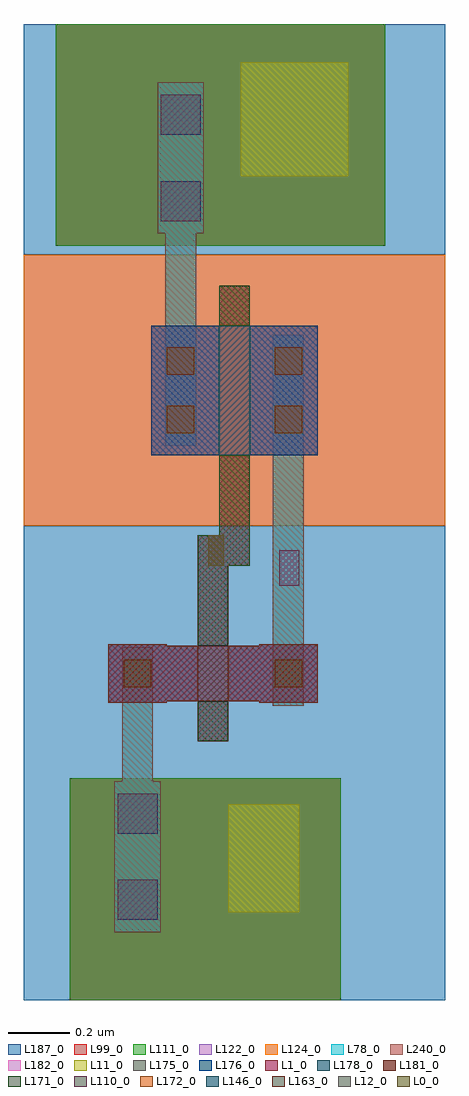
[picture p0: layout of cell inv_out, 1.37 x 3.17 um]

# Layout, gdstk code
import gdstk
lib = gdstk.Library(unit=1e-6, precision=1e-09)
def R(c, l, rs):  # rectangles x0, y0, x1, y1
    for r in rs: c.add(gdstk.rectangle(r[:2], r[2:], *l))
def P(c, l, *ps):  # polygons
    for p in ps: c.add(gdstk.Polygon(p, *l))
L0_0 = (0, 0)
L1_0 = (1, 0)
L11_0 = (11, 0)
L12_0 = (12, 0)
L78_0 = (78, 0)
L99_0 = (99, 0)
L110_0 = (110, 0)
L111_0 = (111, 0)
L122_0 = (122, 0)
L124_0 = (124, 0)
L146_0 = (146, 0)
L163_0 = (163, 0)
L171_0 = (171, 0)
L172_0 = (172, 0)
L175_0 = (175, 0)
L176_0 = (176, 0)
L178_0 = (178, 0)
L181_0 = (181, 0)
L182_0 = (182, 0)
L187_0 = (187, 0)
L240_0 = (240, 0)

inv_out = lib.new_cell('inv_out')
R(inv_out, L0_0, [(1.155,1.595,1.205,1.695)])
P(inv_out, L1_0, [(1.29,2.505),(1.29,1.595),(1.22,1.595),(1.22,1.025),(1.12,1.025),(1.12,1.695),(1.19,1.695),(1.19,2.505)])
R(inv_out, L11_0, [(1.22,0.47,1.45,0.82), (1.26,2.86,1.61,3.23)])
R(inv_out, L12_0, [(1.385,1.53,1.45,1.645)])
R(inv_out, L78_0, [(1.365,1.14,1.465,2.345)])
P(inv_out, L78_0, [(0.975,1.33),(0.975,0.895),(1,0.895),(1,0.405),(0.85,0.405),(0.85,0.895),(0.875,0.895),(0.875,1.33)],
  [(1.14,3.165),(1.14,2.675),(1.115,2.675),(1.115,1.985),(1.015,1.985),(1.015,2.675),(0.99,2.675),(0.99,3.165)])
R(inv_out, L99_0, [(0.705,0.185,1.585,0.905), (0.66,2.635,1.73,3.355)])
R(inv_out, L110_0, [(0.86,0.445,0.99,0.575), (0.86,0.725,0.99,0.855), (1,2.715,1.13,2.845), (1,2.995,1.13,3.125)])
R(inv_out, L111_0, [(0.705,0.185,1.585,0.905), (0.66,2.635,1.73,3.355)])
R(inv_out, L122_0, [(0.555,1.725,1.925,2.605)])
R(inv_out, L124_0, [(0.555,1.725,1.925,2.605)])
R(inv_out, L146_0, [(1.19,1.955,1.29,2.375)])
R(inv_out, L163_0, [(1.12,1.155,1.22,1.335)])
R(inv_out, L171_0, [(1.12,1.025,1.22,1.155), (1.19,2.375,1.29,2.505)])
P(inv_out, L171_0, [(1.29,1.955),(1.29,1.595),(1.22,1.595),(1.22,1.335),(1.12,1.335),(1.12,1.695),(1.19,1.695),(1.19,1.955)])
R(inv_out, L172_0, [(0.88,1.2,0.97,1.29), (1.37,1.2,1.46,1.29), (1.02,2.025,1.11,2.115), (1.37,2.025,1.46,2.115), (1.02,2.215,1.11,2.305), (1.37,2.215,1.46,2.305)])
R(inv_out, L175_0, [(0.97,1.955,1.19,2.375), (1.29,1.955,1.51,2.375)])
R(inv_out, L176_0, [(0.97,1.955,1.19,2.375), (1.29,1.955,1.51,2.375)])
P(inv_out, L178_0, [(1.51,1.34),(1.51,1.15),(1.32,1.15),(1.32,1.155),(1.22,1.155),(1.22,1.335),(1.32,1.335),(1.32,1.34)],
  [(1.02,1.34),(1.02,1.335),(1.12,1.335),(1.12,1.155),(1.02,1.155),(1.02,1.15),(0.83,1.15),(0.83,1.34)])
P(inv_out, L181_0, [(1.51,1.34),(1.51,1.15),(1.32,1.15),(1.32,1.155),(1.22,1.155),(1.22,1.335),(1.32,1.335),(1.32,1.34)],
  [(1.02,1.34),(1.02,1.335),(1.12,1.335),(1.12,1.155),(1.02,1.155),(1.02,1.15),(0.83,1.15),(0.83,1.34)])
R(inv_out, L182_0, [(0.97,1.955,1.19,2.375), (1.29,1.955,1.51,2.375)])
P(inv_out, L182_0, [(1.51,1.34),(1.51,1.15),(1.32,1.15),(1.32,1.155),(1.22,1.155),(1.22,1.335),(1.32,1.335),(1.32,1.34)],
  [(1.02,1.34),(1.02,1.335),(1.12,1.335),(1.12,1.155),(1.02,1.155),(1.02,1.15),(0.83,1.15),(0.83,1.34)])
R(inv_out, L187_0, [(0.555,0.185,1.925,1.725), (0.555,2.605,1.925,3.355)])
R(inv_out, L240_0, [(1.365,1.14,1.465,2.345)])
P(inv_out, L240_0, [(0.975,1.33),(0.975,0.895),(1,0.895),(1,0.405),(0.85,0.405),(0.85,0.895),(0.875,0.895),(0.875,1.33)],
  [(1.14,3.165),(1.14,2.675),(1.115,2.675),(1.115,1.985),(1.015,1.985),(1.015,2.675),(0.99,2.675),(0.99,3.165)])

lib.write_gds('inv_out.gds')
